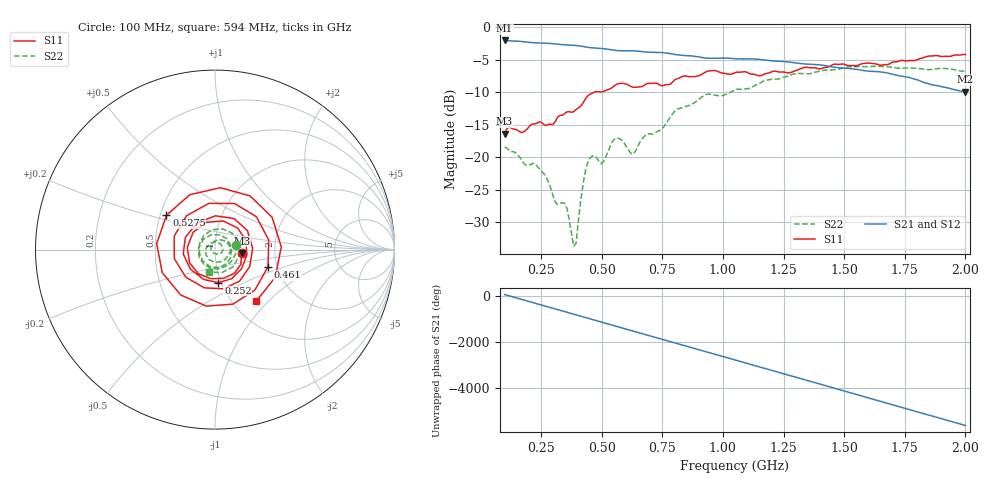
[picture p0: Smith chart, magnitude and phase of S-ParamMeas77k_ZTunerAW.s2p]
!Keysight Technologies,N5242B,MY48420967,A.15.65.19
!Date: Monday, December 19, 2022 10:44:47
!Correction: S11(C  2-Port  )
!S21(C  2-Port  )
!S12(C  2-Port  )
!S22(C  2-Port  )
!S2P File: Measurements: S11, S21, S12, S22:
# Hz S  dB  R 50
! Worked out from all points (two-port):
!   201 points, 100 MHz to 2 GHz, reference 50 ohm
!   highest |S21| = -2.05 dB at 100 MHz (marker M1); lowest = -9.9 dB at 2 GHz (marker M2)
!   |S21| within 3 dB of the highest: start of sweep to 1.169 GHz
!   lowest |S11| = -16.4 dB at 100 MHz (marker M3), VSWR 1.36, Z = 67.6 - j2.54 ohm
!   |S11| at or under -10 dB: start of sweep to 469.9 MHz
!   |S22| runs from -33.7 to -6.0 dB; largest |S21 - S12| = 0.00035
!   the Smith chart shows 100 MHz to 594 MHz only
!   S11 on the Smith chart (normalised r, x): 100 MHz: 1.35, -0.05; 252 MHz: 0.97, -0.37; 461 MHz: 1.79, -0.38; 527.5 MHz: 0.54, +0.23; 594 MHz: 1.28, -0.85
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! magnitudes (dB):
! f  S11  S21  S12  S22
! 100 MHz  -16.4  -2.1  -2.1  -18.4
! 119 MHz  -15.4  -2.1  -2.1  -19.0
! 252 MHz  -14.6  -2.4  -2.5  -22.1
! 309 MHz  -14.5  -2.6  -2.6  -26.9
! 356.5 MHz  -13.0  -2.7  -2.7  -27.8
! 385 MHz  -13.0  -2.8  -2.8  -33.7
! 394.5 MHz  -12.7  -2.8  -2.8  -33.3
! 423 MHz  -11.7  -3.0  -3.0  -24.3
! 442 MHz  -10.6  -3.1  -3.1  -20.9
! 461 MHz  -10.2  -3.2  -3.2  -19.9
! 499 MHz  -10.0  -3.3  -3.3  -21.0
! 527.5 MHz  -9.6  -3.4  -3.4  -19.0
! 556 MHz  -8.9  -3.6  -3.6  -17.2
! 594 MHz  -8.7  -3.6  -3.6  -17.9
! 632 MHz  -9.3  -3.6  -3.6  -19.5
! 679.5 MHz  -8.9  -3.8  -3.8  -16.7
! 736.5 MHz  -8.8  -3.9  -3.9  -15.9
! 812.5 MHz  -7.9  -4.3  -4.3  -12.6
! 1.05 GHz  -7.0  -4.9  -4.9  -9.6
! 1.373 GHz  -6.2  -5.7  -5.8  -7.0
! 1.687 GHz  -5.7  -7.1  -7.1  -6.1
! 2 GHz  -4.2  -9.9  -9.9  -6.8
